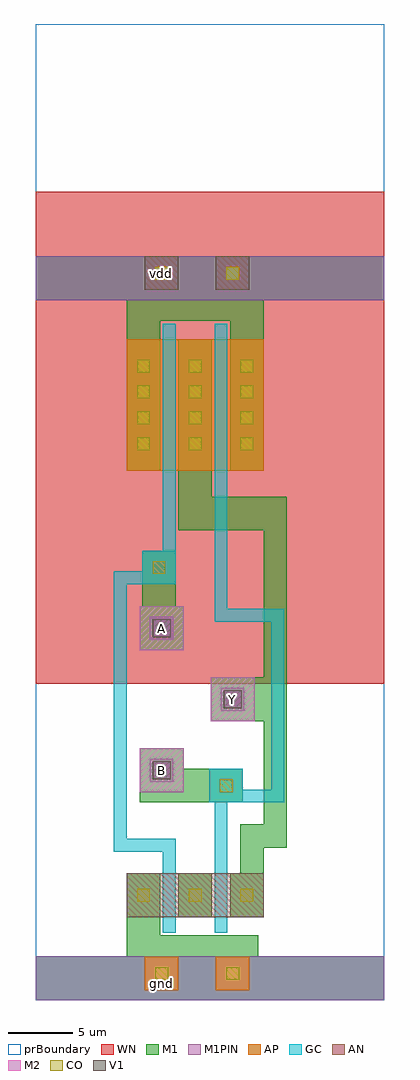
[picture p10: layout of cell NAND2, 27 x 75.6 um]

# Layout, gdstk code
import gdstk
lib = gdstk.Library(unit=1e-6, precision=1e-09)
def R(c, l, rs):  # rectangles x0, y0, x1, y1
    for r in rs: c.add(gdstk.rectangle(r[:2], r[2:], *l))
def A(c, l, x, y, w, h, nx, ny, dx, dy):  # array of equal rectangles
    R(c, l, [(x+i*dx, y+j*dy, x+i*dx+w, y+j*dy+h) for i in range(nx) for j in range(ny)])
def P(c, l, *ps):  # polygons
    for p in ps: c.add(gdstk.Polygon(p, *l))
AP = (3, 1)
AN = (3, 2)
GC = (8, 1)
CO = (11, 0)
M1 = (13, 0)
V1 = (19, 0)
M2 = (20, 0)
M1PIN = (48, 1)
WN = (140, 0)
prBoundary = (235, 4)

nand2 = lib.new_cell('NAND2')
R(nand2, AP, [(8.45,0.75,11.05,3.35), (13.95,0.75,16.55,3.35), (7.05,41,17.65,51.2)])
R(nand2, AN, [(7.05,6.4,17.65,9.8), (8.45,55,11.05,57.6), (13.95,55,16.55,57.6)])
P(nand2, GC, [(9.85,5.2),(9.85,11.5),(6.05,11.5),(6.05,33.2),(8.25,33.2),(8.25,34.8),(9.85,34.8),(9.85,52.4),(10.85,52.4),(10.85,32.2),(7.05,32.2),(7.05,12.5),(10.85,12.5),(10.85,5.2)],
  [(13.85,5.2),(13.85,15.3),(13.45,15.3),(13.45,17.9),(16.05,17.9),(16.05,16.3),(18.25,16.3),(18.25,29.3),(13.85,29.3),(13.85,52.4),(14.85,52.4),(14.85,30.3),(19.25,30.3),(19.25,15.3),(14.85,15.3),(14.85,5.2)])
A(nand2, CO, 7.85, 7.6, 1, 1, 3, 2, 4, 35)
A(nand2, CO, 7.85, 44.6, 1, 1, 3, 3, 4, 2)
R(nand2, CO, [(9.25,1.55,10.25,2.55), (14.75,1.55,15.75,2.55), (14.25,16.1,15.25,17.1), (9.05,33,10.05,34), (9.25,55.8,10.25,56.8), (14.75,55.8,15.75,56.8)])
R(nand2, M1, [(11.05,6.4,13.65,9.8)])
P(nand2, M1, [(0,0),(0,3.4),(7.05,3.4),(7.05,9.8),(9.65,9.8),(9.65,5),(17.25,5),(17.25,3.4),(27,3.4),(27,0)],
  [(8.05,15.3),(8.05,19.5),(11.45,19.5),(11.45,17.9),(16.05,17.9),(16.05,15.3)],
  [(8.05,27.1),(8.05,30.5),(8.25,30.5),(8.25,34.8),(10.85,34.8),(10.85,30.5),(11.45,30.5),(11.45,27.1)],
  [(15.05,6.4),(15.05,9.8),(15.85,9.8),(15.85,13.6),(17.65,13.6),(17.65,21.6),(13.55,21.6),(13.55,25),(17.65,25),(17.65,36.4),(11.05,36.4),(11.05,51.2),(13.65,51.2),(13.65,39),(19.45,39),(19.45,11.8),(17.65,11.8),(17.65,6.4)],
  [(7.05,41),(7.05,54.2),(0,54.2),(0,57.6),(27,57.6),(27,54.2),(17.65,54.2),(17.65,41),(15.05,41),(15.05,52.6),(9.65,52.6),(9.65,41)])
R(nand2, V1, [(9.05,17.1,10.45,18.5), (14.55,22.6,15.95,24), (9.05,28.1,10.45,29.5)])
R(nand2, M2, [(8.05,16.1,11.45,19.5), (13.55,21.6,16.95,25), (8.05,27.1,11.45,30.5)])
R(nand2, M1PIN, [(0,0,27,3.4), (8.85,16.9,10.65,18.7), (14.35,22.4,16.15,24.2), (8.85,27.9,10.65,29.7), (0,54.2,27,57.6)])
R(nand2, WN, [(0,24.5,27,62.6)])
R(nand2, prBoundary, [(0,0,27,75.6)])
nand2.add(gdstk.Label('gnd', (9.75,1.3), layer=48, texttype=0))
nand2.add(gdstk.Label('vdd', (9.75,56.3), layer=48, texttype=0))
nand2.add(gdstk.Label('Y', (15.25,23.3), layer=48, texttype=0))
nand2.add(gdstk.Label('B', (9.75,17.8), layer=48, texttype=0))
nand2.add(gdstk.Label('A', (9.75,28.8), layer=48, texttype=0))
nand2.add(gdstk.Label('Y', (15.25,23.3), layer=49, texttype=0))
nand2.add(gdstk.Label('B', (9.75,17.8), layer=49, texttype=0))
nand2.add(gdstk.Label('A', (9.75,28.8), layer=49, texttype=0))

lib.write_gds('NAND2.gds')
